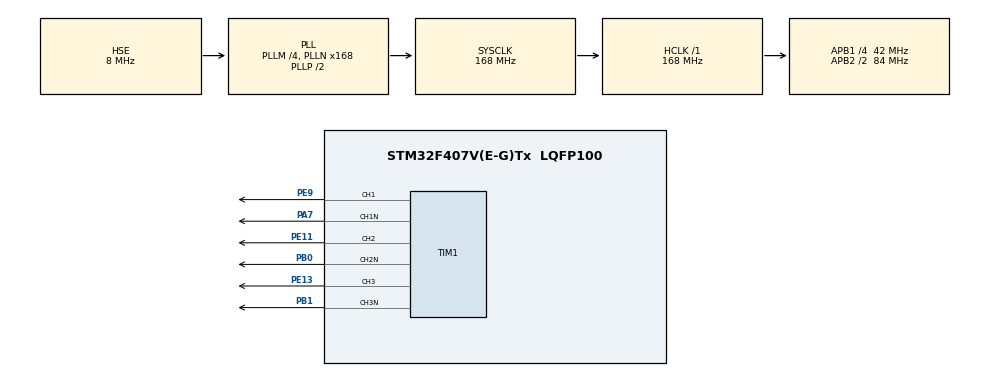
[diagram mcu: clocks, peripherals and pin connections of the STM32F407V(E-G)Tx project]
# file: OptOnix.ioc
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Mcu.Family=STM32F4
Mcu.Name=STM32F407V(E-G)Tx
Mcu.Package=LQFP100
NVIC.PriorityGroup=NVIC_PRIORITYGROUP_4
NVIC.TIM2_IRQn=true\:1\:0\:true\:false\:true\:true\:true\:true
NVIC.TIM3_IRQn=true\:2\:0\:true\:false\:true\:true\:true\:true
NVIC.TIM4_IRQn=true\:3\:0\:true\:false\:true\:true\:true\:true
PA7.GPIO_ModeDefaultPP=GPIO_MODE_AF_PP
PA7.GPIO_PuPd=GPIO_NOPULL
PA7.GPIO_Speed=GPIO_SPEED_FREQ_LOW
PA7.Mode=PWM Generation1 CH1 CH1N
PA7.Signal=TIM1_CH1N
PB0.GPIO_ModeDefaultPP=GPIO_MODE_AF_PP
PB0.GPIO_PuPd=GPIO_NOPULL
PB0.GPIO_Speed=GPIO_SPEED_FREQ_LOW
PB0.Mode=PWM Generation2 CH2 CH2N
PB0.Signal=TIM1_CH2N
PB1.GPIO_ModeDefaultPP=GPIO_MODE_AF_PP
PB1.GPIO_PuPd=GPIO_NOPULL
PB1.GPIO_Speed=GPIO_SPEED_FREQ_LOW
PB1.Mode=PWM Generation3 CH3 CH3N
PB1.Signal=TIM1_CH3N
PE11.GPIO_ModeDefaultPP=GPIO_MODE_AF_PP
PE11.GPIO_PuPd=GPIO_NOPULL
PE11.GPIO_Speed=GPIO_SPEED_FREQ_LOW
PE11.Signal=S_TIM1_CH2
PE13.GPIO_ModeDefaultPP=GPIO_MODE_AF_PP
PE13.GPIO_PuPd=GPIO_NOPULL
PE13.GPIO_Speed=GPIO_SPEED_FREQ_LOW
PE13.Signal=S_TIM1_CH3
PE9.GPIO_ModeDefaultPP=GPIO_MODE_AF_PP
PE9.GPIO_PuPd=GPIO_NOPULL
PE9.GPIO_Speed=GPIO_SPEED_FREQ_LOW
PE9.Signal=S_TIM1_CH1
PH0-OSC_IN.Mode=HSE-External-Oscillator
PH0-OSC_IN.Signal=RCC_OSC_IN
PH1-OSC_OUT.Mode=HSE-External-Oscillator
PH1-OSC_OUT.Signal=RCC_OSC_OUT
ProjectManager.HeapSize=0x200
ProjectManager.StackSize=0x400
ProjectManager.TargetToolchain=MDK-ARM V5.32
RCC.48MHZClocksFreq_Value=84000000
RCC.AHBFreq_Value=168000000
RCC.APB1CLKDivider=RCC_HCLK_DIV4
RCC.APB1Freq_Value=42000000
RCC.APB1TimFreq_Value=84000000
RCC.APB2CLKDivider=RCC_HCLK_DIV2
RCC.APB2Freq_Value=84000000
RCC.APB2TimFreq_Value=168000000
RCC.CortexFreq_Value=168000000
RCC.HCLKFreq_Value=168000000
RCC.HSE_VALUE=8000000
RCC.HSI_VALUE=16000000
RCC.LSE_VALUE=32768
RCC.PLLM=4
RCC.PLLN=168
RCC.PLLSourceVirtual=RCC_PLLSOURCE_HSE
RCC.SYSCLKFreq_VALUE=168000000
RCC.SYSCLKSource=RCC_SYSCLKSOURCE_PLLCLK
RCC.VCOOutputFreq_Value=336000000
SH.S_TIM1_CH1.0=TIM1_CH1,PWM Generation1 CH1 CH1N
SH.S_TIM1_CH2.0=TIM1_CH2,PWM Generation2 CH2 CH2N
SH.S_TIM1_CH3.0=TIM1_CH3,PWM Generation3 CH3 CH3N
TIM1.Channel-PWM\ Generation1\ CH1\ CH1N=TIM_CHANNEL_1
TIM1.Channel-PWM\ Generation2\ CH2\ CH2N=TIM_CHANNEL_2
TIM1.Channel-PWM\ Generation3\ CH3\ CH3N=TIM_CHANNEL_3
TIM2.Period=99
TIM2.Prescaler=72
TIM3.Period=190
TIM3.Prescaler=7200
TIM4.Period=9999
TIM4.Prescaler=72
VP_TIM2_VS_ClockSourceINT.Mode=Internal
VP_TIM3_VS_ClockSourceINT.Mode=Internal
VP_TIM4_VS_ClockSourceINT.Mode=Internal
board=custom

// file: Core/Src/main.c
/* USER CODE BEGIN Header */
/**
  ******************************************************************************
  * @file           : main.c
  * @brief          : Main program body
  ******************************************************************************
  * @attention
  *
  * Copyright (c) 2022 STMicroelectronics.
  * All rights reserved.
  *
  * This software is licensed under terms that can be found in the LICENSE file
  * in the root directory of this software component.
  * If no LICENSE file comes with this software, it is provided AS-IS.
  *
  ******************************************************************************
  */
/* USER CODE END Header */
#include "main.h"

TIM_HandleTypeDef htim1;
TIM_HandleTypeDef htim2;
TIM_HandleTypeDef htim3;
TIM_HandleTypeDef htim4;

void SystemClock_Config(void);
static void MX_GPIO_Init(void);
static void MX_TIM1_Init(void);
static void MX_TIM2_Init(void);
static void MX_TIM3_Init(void);
static void MX_TIM4_Init(void);

/* USER CODE BEGIN 0 */
#include "pwm_new.h"
/* USER CODE END 0 */

int main(void)
{

  /* MCU Configuration--------------------------------------------------------*/

  /* Reset of all peripherals, Initializes the Flash interface and the Systick. */
  HAL_Init();

  /* Configure the system clock */
  SystemClock_Config();

  /* Initialize all configured peripherals */
  MX_GPIO_Init();
  MX_TIM1_Init();
  MX_TIM2_Init();
  MX_TIM3_Init();
  MX_TIM4_Init();
  /* USER CODE BEGIN 2 */
  /*
	GPIOE->MODER = 0x08880000;
	GPIOE->OSPEEDR = 0x0CCC0000;

	GPIOA->MODER = 0x00008000;
	GPIOA->OSPEEDR = 0x0000C000;

	GPIOB->MODER = 0x0000000A;
	GPIOB->OSPEEDR = 0x0000000F;

	GPIO_InitTypeDef GPIO_InitStruct;
	GPIO_InitStruct.Pin = GPIO_PIN_7;
	GPIO_InitStruct.Mode = GPIO_MODE_OUTPUT_AF;
	GPIO_InitStruct.Pull = GPIO_NOPULL;
	GPIO_InitStruct.Speed = GPIO_SPEED_FREQ_LOW;
	HAL_GPIO_Init(GPIOA, &GPIO_InitStruct);
	*/
	pwm_initialize();

  	HAL_TIM_PWM_Start(&htim1, TIM_CHANNEL_1);
	HAL_TIM_PWM_Start(&htim1, TIM_CHANNEL_2);
	HAL_TIM_PWM_Start(&htim1, TIM_CHANNEL_3);
  	HAL_TIMEx_PWMN_Start(&htim1, TIM_CHANNEL_1);
	HAL_TIMEx_PWMN_Start(&htim1, TIM_CHANNEL_2);
	HAL_TIMEx_PWMN_Start(&htim1, TIM_CHANNEL_3);

	HAL_TIM_Base_Start_IT(&htim2);
	HAL_TIM_Base_Start_IT(&htim3);
	HAL_TIM_Base_Start_IT(&htim4);

	__HAL_TIM_ENABLE_IT(&htim2, TIM_IT_UPDATE );
	__HAL_TIM_ENABLE_IT(&htim3, TIM_IT_UPDATE );
	__HAL_TIM_ENABLE_IT(&htim4, TIM_IT_UPDATE );

	HAL_TIM_IRQHandler(&htim2);
	HAL_TIM_IRQHandler(&htim3);
	HAL_TIM_IRQHandler(&htim4);

  /* USER CODE END 2 */

  /* Infinite loop */
  /* USER CODE BEGIN WHILE */
  while (1)
  {
	  modulate();
    /* USER CODE END WHILE */

  }
}

void SystemClock_Config(void)
{
  RCC_OscInitTypeDef RCC_OscInitStruct = {0};
  RCC_ClkInitTypeDef RCC_ClkInitStruct = {0};

  /** Configure the main internal regulator output voltage
  */
  __HAL_RCC_PWR_CLK_ENABLE();
  __HAL_PWR_VOLTAGESCALING_CONFIG(PWR_REGULATOR_VOLTAGE_SCALE1);

  /** Initializes the RCC Oscillators according to the specified parameters
  * in the RCC_OscInitTypeDef structure.
  */
  RCC_OscInitStruct.OscillatorType = RCC_OSCILLATORTYPE_HSE;
  RCC_OscInitStruct.HSEState = RCC_HSE_ON;
  RCC_OscInitStruct.PLL.PLLState = RCC_PLL_ON;
  RCC_OscInitStruct.PLL.PLLSource = RCC_PLLSOURCE_HSE;
  RCC_OscInitStruct.PLL.PLLM = 4;
  RCC_OscInitStruct.PLL.PLLN = 168;
  RCC_OscInitStruct.PLL.PLLP = RCC_PLLP_DIV2;
  RCC_OscInitStruct.PLL.PLLQ = 4;
  if (HAL_RCC_OscConfig(&RCC_OscInitStruct) != HAL_OK)
  {
    Error_Handler();
  }

  /** Initializes the CPU, AHB and APB buses clocks
  */
  RCC_ClkInitStruct.ClockType = RCC_CLOCKTYPE_HCLK|RCC_CLOCKTYPE_SYSCLK
                              |RCC_CLOCKTYPE_PCLK1|RCC_CLOCKTYPE_PCLK2;
  RCC_ClkInitStruct.SYSCLKSource = RCC_SYSCLKSOURCE_PLLCLK;
  RCC_ClkInitStruct.AHBCLKDivider = RCC_SYSCLK_DIV1;
  RCC_ClkInitStruct.APB1CLKDivider = RCC_HCLK_DIV4;
  RCC_ClkInitStruct.APB2CLKDivider = RCC_HCLK_DIV2;

  if (HAL_RCC_ClockConfig(&RCC_ClkInitStruct, FLASH_LATENCY_5) != HAL_OK)
  {
    Error_Handler();
  }
}

static void MX_TIM1_Init(void)
{

  TIM_MasterConfigTypeDef sMasterConfig = {0};
  TIM_OC_InitTypeDef sConfigOC = {0};
  TIM_BreakDeadTimeConfigTypeDef sBreakDeadTimeConfig = {0};

  htim1.Instance = TIM1;
  htim1.Init.Prescaler = 0;
  htim1.Init.CounterMode = TIM_COUNTERMODE_UP;
  htim1.Init.Period = 1;
  htim1.Init.ClockDivision = TIM_CLOCKDIVISION_DIV1;
  htim1.Init.RepetitionCounter = 0;
  htim1.Init.AutoReloadPreload = TIM_AUTORELOAD_PRELOAD_DISABLE;
  if (HAL_TIM_PWM_Init(&htim1) != HAL_OK)
  {
    Error_Handler();
  }
  sMasterConfig.MasterOutputTrigger = TIM_TRGO_RESET;
  sMasterConfig.MasterSlaveMode = TIM_MASTERSLAVEMODE_DISABLE;
  if (HAL_TIMEx_MasterConfigSynchronization(&htim1, &sMasterConfig) != HAL_OK)
  {
    Error_Handler();
  }
  sConfigOC.OCMode = TIM_OCMODE_PWM1;
  sConfigOC.Pulse = 0;
  sConfigOC.OCPolarity = TIM_OCPOLARITY_HIGH;
  sConfigOC.OCNPolarity = TIM_OCNPOLARITY_HIGH;
  sConfigOC.OCFastMode = TIM_OCFAST_ENABLE;
  sConfigOC.OCIdleState = TIM_OCIDLESTATE_RESET;
  sConfigOC.OCNIdleState = TIM_OCNIDLESTATE_RESET;
  if (HAL_TIM_PWM_ConfigChannel(&htim1, &sConfigOC, TIM_CHANNEL_1) != HAL_OK)
  {
    Error_Handler();
  }
  if (HAL_TIM_PWM_ConfigChannel(&htim1, &sConfigOC, TIM_CHANNEL_2) != HAL_OK)
  {
    Error_Handler();
  }
  if (HAL_TIM_PWM_ConfigChannel(&htim1, &sConfigOC, TIM_CHANNEL_3) != HAL_OK)
  {
    Error_Handler();
  }
  sBreakDeadTimeConfig.OffStateRunMode = TIM_OSSR_DISABLE;
  sBreakDeadTimeConfig.OffStateIDLEMode = TIM_OSSI_DISABLE;
  sBreakDeadTimeConfig.LockLevel = TIM_LOCKLEVEL_OFF;
  sBreakDeadTimeConfig.DeadTime = 0;
  sBreakDeadTimeConfig.BreakState = TIM_BREAK_DISABLE;
  sBreakDeadTimeConfig.BreakPolarity = TIM_BREAKPOLARITY_HIGH;
  sBreakDeadTimeConfig.AutomaticOutput = TIM_AUTOMATICOUTPUT_DISABLE;
  if (HAL_TIMEx_ConfigBreakDeadTime(&htim1, &sBreakDeadTimeConfig) != HAL_OK)
  {
    Error_Handler();
  }
  HAL_TIM_MspPostInit(&htim1);

}

static void MX_TIM2_Init(void)
{

  TIM_ClockConfigTypeDef sClockSourceConfig = {0};
  TIM_MasterConfigTypeDef sMasterConfig = {0};

  htim2.Instance = TIM2;
  htim2.Init.Prescaler = 83;
  htim2.Init.CounterMode = TIM_COUNTERMODE_UP;
  htim2.Init.Period = 19;
  htim2.Init.ClockDivision = TIM_CLOCKDIVISION_DIV1;
  htim2.Init.AutoReloadPreload = TIM_AUTORELOAD_PRELOAD_DISABLE;
  if (HAL_TIM_Base_Init(&htim2) != HAL_OK)
  {
    Error_Handler();
  }
  sClockSourceConfig.ClockSource = TIM_CLOCKSOURCE_INTERNAL;
  if (HAL_TIM_ConfigClockSource(&htim2, &sClockSourceConfig) != HAL_OK)
  {
    Error_Handler();
  }
  sMasterConfig.MasterOutputTrigger = TIM_TRGO_RESET;
  sMasterConfig.MasterSlaveMode = TIM_MASTERSLAVEMODE_DISABLE;
  if (HAL_TIMEx_MasterConfigSynchronization(&htim2, &sMasterConfig) != HAL_OK)
  {
    Error_Handler();
  }

}

static void MX_TIM3_Init(void)
{

  TIM_ClockConfigTypeDef sClockSourceConfig = {0};
  TIM_MasterConfigTypeDef sMasterConfig = {0};

  htim3.Instance = TIM3;
  htim3.Init.Prescaler = 7200;
  htim3.Init.CounterMode = TIM_COUNTERMODE_UP;
  htim3.Init.Period = 189;
  htim3.Init.ClockDivision = TIM_CLOCKDIVISION_DIV1;
  htim3.Init.AutoReloadPreload = TIM_AUTORELOAD_PRELOAD_DISABLE;
  if (HAL_TIM_Base_Init(&htim3) != HAL_OK)
  {
    Error_Handler();
  }
  sClockSourceConfig.ClockSource = TIM_CLOCKSOURCE_INTERNAL;
  if (HAL_TIM_ConfigClockSource(&htim3, &sClockSourceConfig) != HAL_OK)
  {
    Error_Handler();
  }
  sMasterConfig.MasterOutputTrigger = TIM_TRGO_RESET;
  sMasterConfig.MasterSlaveMode = TIM_MASTERSLAVEMODE_DISABLE;
  if (HAL_TIMEx_MasterConfigSynchronization(&htim3, &sMasterConfig) != HAL_OK)
  {
    Error_Handler();
  }

}

static void MX_TIM4_Init(void)
{

  TIM_ClockConfigTypeDef sClockSourceConfig = {0};
  TIM_MasterConfigTypeDef sMasterConfig = {0};

  htim4.Instance = TIM4;
  htim4.Init.Prescaler = 72;
  htim4.Init.CounterMode = TIM_COUNTERMODE_UP;
  htim4.Init.Period = 9999;
  htim4.Init.ClockDivision = TIM_CLOCKDIVISION_DIV1;
  htim4.Init.AutoReloadPreload = TIM_AUTORELOAD_PRELOAD_DISABLE;
  if (HAL_TIM_Base_Init(&htim4) != HAL_OK)
  {
    Error_Handler();
  }
  sClockSourceConfig.ClockSource = TIM_CLOCKSOURCE_INTERNAL;
  if (HAL_TIM_ConfigClockSource(&htim4, &sClockSourceConfig) != HAL_OK)
  {
    Error_Handler();
  }
  sMasterConfig.MasterOutputTrigger = TIM_TRGO_RESET;
  sMasterConfig.MasterSlaveMode = TIM_MASTERSLAVEMODE_DISABLE;
  if (HAL_TIMEx_MasterConfigSynchronization(&htim4, &sMasterConfig) != HAL_OK)
  {
    Error_Handler();
  }

}

static void MX_GPIO_Init(void)
{

  /* GPIO Ports Clock Enable */
  __HAL_RCC_GPIOH_CLK_ENABLE();
  __HAL_RCC_GPIOA_CLK_ENABLE();
  __HAL_RCC_GPIOB_CLK_ENABLE();
  __HAL_RCC_GPIOE_CLK_ENABLE();

}

void Error_Handler(void)
{
  __disable_irq();
  while (1)
  {
  }
}
